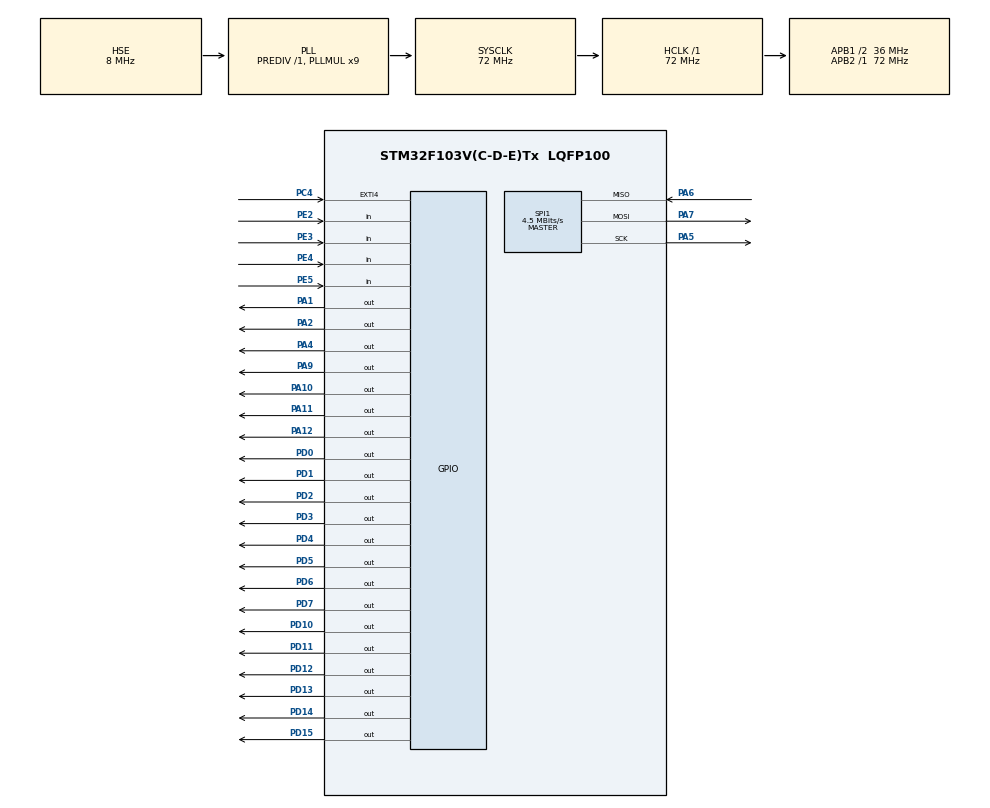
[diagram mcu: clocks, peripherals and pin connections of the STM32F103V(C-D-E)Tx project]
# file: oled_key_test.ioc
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Mcu.Family=STM32F1
Mcu.Name=STM32F103V(C-D-E)Tx
Mcu.Package=LQFP100
NVIC.EXTI4_IRQn=true\:0\:0\:false\:false\:true\:true\:true
NVIC.PriorityGroup=NVIC_PRIORITYGROUP_4
NVIC.TIM6_IRQn=true\:0\:0\:false\:false\:true\:true\:true
OSC_IN.Mode=HSE-External-Oscillator
OSC_IN.Signal=RCC_OSC_IN
OSC_OUT.Mode=HSE-External-Oscillator
OSC_OUT.Signal=RCC_OSC_OUT
PA1.GPIO_Speed=GPIO_SPEED_FREQ_MEDIUM
PA1.PinState=GPIO_PIN_SET
PA1.Signal=GPIO_Output
PA10.Signal=GPIO_Output
PA11.Signal=GPIO_Output
PA12.Signal=GPIO_Output
PA13.Mode=Serial_Wire
PA13.Signal=SYS_JTMS-SWDIO
PA14.Mode=Serial_Wire
PA14.Signal=SYS_JTCK-SWCLK
PA2.GPIO_Speed=GPIO_SPEED_FREQ_LOW
PA2.Signal=GPIO_Output
PA4.GPIO_Speed=GPIO_SPEED_FREQ_HIGH
PA4.PinState=GPIO_PIN_SET
PA4.Signal=GPIO_Output
PA5.Mode=Full_Duplex_Master
PA5.Signal=SPI1_SCK
PA6.Mode=Full_Duplex_Master
PA6.Signal=SPI1_MISO
PA7.Mode=Full_Duplex_Master
PA7.Signal=SPI1_MOSI
PA9.Signal=GPIO_Output
PC4.Signal=GPXTI4
PD0.GPIO_Speed=GPIO_SPEED_FREQ_HIGH
PD0.PinState=GPIO_PIN_SET
PD0.Signal=GPIO_Output
PD1.GPIO_Speed=GPIO_SPEED_FREQ_HIGH
PD1.PinState=GPIO_PIN_SET
PD1.Signal=GPIO_Output
PD10.GPIO_Speed=GPIO_SPEED_FREQ_HIGH
PD10.PinState=GPIO_PIN_SET
PD10.Signal=GPIO_Output
PD11.GPIO_Speed=GPIO_SPEED_FREQ_HIGH
PD11.PinState=GPIO_PIN_SET
PD11.Signal=GPIO_Output
PD12.GPIO_Speed=GPIO_SPEED_FREQ_HIGH
PD12.PinState=GPIO_PIN_SET
PD12.Signal=GPIO_Output
PD13.GPIO_Speed=GPIO_SPEED_FREQ_HIGH
PD13.PinState=GPIO_PIN_SET
PD13.Signal=GPIO_Output
PD14.GPIO_Speed=GPIO_SPEED_FREQ_HIGH
PD14.PinState=GPIO_PIN_SET
PD14.Signal=GPIO_Output
PD15.GPIO_Speed=GPIO_SPEED_FREQ_HIGH
PD15.PinState=GPIO_PIN_SET
PD15.Signal=GPIO_Output
PD2.GPIO_Speed=GPIO_SPEED_FREQ_HIGH
PD2.PinState=GPIO_PIN_SET
PD2.Signal=GPIO_Output
PD3.GPIO_Speed=GPIO_SPEED_FREQ_HIGH
PD3.PinState=GPIO_PIN_SET
PD3.Signal=GPIO_Output
PD4.GPIO_ModeDefaultOutputPP=GPIO_MODE_OUTPUT_PP
PD4.GPIO_Speed=GPIO_SPEED_FREQ_HIGH
PD4.PinState=GPIO_PIN_SET
PD4.Signal=GPIO_Output
PD5.GPIO_Speed=GPIO_SPEED_FREQ_HIGH
PD5.PinState=GPIO_PIN_SET
PD5.Signal=GPIO_Output
PD6.GPIO_Speed=GPIO_SPEED_FREQ_HIGH
PD6.PinState=GPIO_PIN_SET
PD6.Signal=GPIO_Output
PD7.GPIO_Speed=GPIO_SPEED_FREQ_HIGH
PD7.PinState=GPIO_PIN_SET
PD7.Signal=GPIO_Output
PE2.Signal=GPIO_Input
PE3.Signal=GPIO_Input
PE4.Signal=GPIO_Input
PE5.Signal=GPIO_Input
ProjectManager.HeapSize=0x200
ProjectManager.StackSize=0x400
ProjectManager.TargetToolchain=MDK-ARM V5.32
RCC.AHBFreq_Value=72000000
RCC.APB1CLKDivider=RCC_HCLK_DIV2
RCC.APB1Freq_Value=36000000
RCC.APB1TimFreq_Value=72000000
RCC.APB2Freq_Value=72000000
RCC.APB2TimFreq_Value=72000000
RCC.HCLKFreq_Value=72000000
RCC.PLLMUL=RCC_PLL_MUL9
RCC.PLLSourceVirtual=RCC_PLLSOURCE_HSE
RCC.SYSCLKFreq_VALUE=72000000
RCC.SYSCLKSource=RCC_SYSCLKSOURCE_PLLCLK
RCC.USBFreq_Value=72000000
SPI1.BaudRatePrescaler=SPI_BAUDRATEPRESCALER_16
SPI1.CalculateBaudRate=4.5 MBits/s
SPI1.Direction=SPI_DIRECTION_2LINES
SPI1.Mode=SPI_MODE_MASTER
SPI1.VirtualType=VM_MASTER
TIM6.AutoReloadPreload=TIM_AUTORELOAD_PRELOAD_ENABLE
TIM6.Period=999
TIM6.Prescaler=71
VP_TIM6_VS_ClockSourceINT.Mode=Enable_Timer
board=custom

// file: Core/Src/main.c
/* USER CODE BEGIN Header */
/**
  ******************************************************************************
  * @file           : main.c
  * @brief          : Main program body
  ******************************************************************************
  * @attention
  *
  * <h2><center>&copy; Copyright (c) 2023 STMicroelectronics.
  * All rights reserved.</center></h2>
  *
  * This software component is licensed by ST under BSD 3-Clause license,
  * the "License"; You may not use this file except in compliance with the
  * License. You may obtain a copy of the License at:
  *                        opensource.org/licenses/BSD-3-Clause
  *
  ******************************************************************************
  */
/* USER CODE END Header */
#include "main.h"
#include "spi.h"
#include "tim.h"
#include "gpio.h"

/* USER CODE BEGIN Includes */
#include "oled.h"
#include "keybrd.h"
#include "user_interface.h"
#include "nrf24l01p.h"
#include <stdio.h>
/* USER CODE END Includes */

/* USER CODE BEGIN PD */
uint8_t rx_data[NRF24L01P_PAYLOAD_LENGTH] = {0};
uint8_t tx_data[NRF24L01P_PAYLOAD_LENGTH] = {0,0,0,0,0,0,0,0,0,0,0,0,0,0,0,0,0,0,0,0,0,0,0,0,0,0,0,0,0,0,0,0};
/* USER CODE END PD */

void SystemClock_Config(void);

/* USER CODE BEGIN 0 */
//static void MX_GPIO_Init(void);
int8_t KEYBRD_Read_Row = 0;
int8_t KEYBRD_Read_En = 0;
/* USER CODE END 0 */

int main(void)
{

  /* MCU Configuration--------------------------------------------------------*/

  /* Reset of all peripherals, Initializes the Flash interface and the Systick. */
  HAL_Init();

  /* USER CODE BEGIN Init */
  HAL_Delay(1000);
  /* USER CODE END Init */

  /* Configure the system clock */
  SystemClock_Config();

  /* Initialize all configured peripherals */
  MX_GPIO_Init();
  MX_TIM6_Init();
  MX_SPI1_Init();
  /* USER CODE BEGIN 2 */

  UI_welcome();
  nrf24l01p_tx_init(2500, _250kbps);

  // TEST USE
	// char check[4];
  // if(nrf24l01p_check)
	// {
	// 	sprintf(check, "%d", 1);
	// }
	// else
	// {
	// 	sprintf(check, "%d", 0);
	// }
  // OLED_ShowStr(20,2,check,2);
	// HAL_Delay(2000);

  // uint8_t *bufl;
  // bufl = read_03();
  // for (int8_t i=0; i<5; i++)
  // {
  //   char check[8];
  //   sprintf(check, "%d", bufl[i]);
  //   OLED_ShowStr(40,4,check,2);
  //   HAL_Delay(1000);
  //   OLED_CLS();
  // }

  OLED_Init();			//��ʼ��OLED

  HAL_TIM_Base_Start_IT(&htim6);
  KEYBRD_Init();

  int8_t keypad_state[16] = {0,0,0,0,0,0,0,0,0,0,0,0,0,0,0,0};

  struct KEYBRD_INFO keyboard_info = {{0,0,0,0,0,0,0,0,0,0,0,0,0,0,0,0},0,0};

  uint8_t main_state = 0;
  uint32_t count = 0;

  HAL_Delay(2000);
  OLED_CLS();

  /* USER CODE END 2 */

  /* Infinite loop */
  while (1)
  {

    /* USER CODE BEGIN 3 */
    // OLED_CLS();
		// HAL_Delay(500);
    // OLED_ShowStr(40,6," Ver 1.2  ",2);
		// // num ++;
    // // OLED_ShowNum(40,2,num,4,2);
    // HAL_Delay(50);

    int8_t last_display = keyboard_info.display_answer;

    uint8_t temp[4] = {0};
    uint8_t replic = 0;
    // 键盘读取
    if (KEYBRD_Read_En)
    {

      KEYBRD_Read(KEYBRD_Read_Row, keyboard_info.keypad_state);
    }
    // 键盘处理读取到的状态
    uint8_t next_state = KEYBRD_get_func(&keyboard_info, main_state);

    switch (main_state)
    {
    case 0:
      // 等待键盘输入
      UI_default(&keyboard_info,0);
      break;

    case 1:
      // 已获得输入，等待发送
      UI_default(&keyboard_info,0);
      break;

    case 2:
      // 发送中
      UI_default(&keyboard_info,1);

      // OLED_ShowNum(10,0,1,4,2);
      tx_data[0] = keyboard_info.current_answer + 64;
      // nrf24l01p_tx_transmit(tx_data);
      // 发送数据
      uint8_t tr = 0;
      // while (tr != 46 || tr != 30 || tr != 31)
      // {

      //   HAL_Delay(5);
      // }

      tr = nrf24l01p_write_tx_fifo(tx_data);
      nrf24l01p_clear_rx_dr();
      nrf24l01p_clear_tx_ds();
      nrf24l01p_clear_max_rt();
      // HAL_Delay(500);
      OLED_CLS();
      // tr = nrf24l01p_write_tx_fifo(tx_data);
      // OLED_ShowNum(10,4,tr,4,2);

      // 发送成功运行

      next_state = 0;
      break;

    case 3:
      //
      UI_default(&keyboard_info,0);
      // OLED_ShowNum(10,6,2,4,2);
      break;

    default:
      UI_default(&keyboard_info,0);
      break;
    }

    if(main_state != next_state || last_display != keyboard_info.display_answer){
      OLED_CLS();
    }
    main_state = next_state;

    if (keypad_state[6] == -1)
    {
      OLED_CLS();
      // HAL_Delay(50);
    }
  }
  /* USER CODE END 3 */
}

void SystemClock_Config(void)
{
  RCC_OscInitTypeDef RCC_OscInitStruct = {0};
  RCC_ClkInitTypeDef RCC_ClkInitStruct = {0};

  /** Initializes the RCC Oscillators according to the specified parameters
  * in the RCC_OscInitTypeDef structure.
  */
  RCC_OscInitStruct.OscillatorType = RCC_OSCILLATORTYPE_HSE;
  RCC_OscInitStruct.HSEState = RCC_HSE_ON;
  RCC_OscInitStruct.HSEPredivValue = RCC_HSE_PREDIV_DIV1;
  RCC_OscInitStruct.HSIState = RCC_HSI_ON;
  RCC_OscInitStruct.PLL.PLLState = RCC_PLL_ON;
  RCC_OscInitStruct.PLL.PLLSource = RCC_PLLSOURCE_HSE;
  RCC_OscInitStruct.PLL.PLLMUL = RCC_PLL_MUL9;
  if (HAL_RCC_OscConfig(&RCC_OscInitStruct) != HAL_OK)
  {
    Error_Handler();
  }
  /** Initializes the CPU, AHB and APB buses clocks
  */
  RCC_ClkInitStruct.ClockType = RCC_CLOCKTYPE_HCLK|RCC_CLOCKTYPE_SYSCLK
                              |RCC_CLOCKTYPE_PCLK1|RCC_CLOCKTYPE_PCLK2;
  RCC_ClkInitStruct.SYSCLKSource = RCC_SYSCLKSOURCE_PLLCLK;
  RCC_ClkInitStruct.AHBCLKDivider = RCC_SYSCLK_DIV1;
  RCC_ClkInitStruct.APB1CLKDivider = RCC_HCLK_DIV2;
  RCC_ClkInitStruct.APB2CLKDivider = RCC_HCLK_DIV1;

  if (HAL_RCC_ClockConfig(&RCC_ClkInitStruct, FLASH_LATENCY_2) != HAL_OK)
  {
    Error_Handler();
  }
}

void Error_Handler(void)
{
  __disable_irq();
  while (1)
  {
  }
}

/************************ (C) COPYRIGHT STMicroelectronics *****END OF FILE****/
